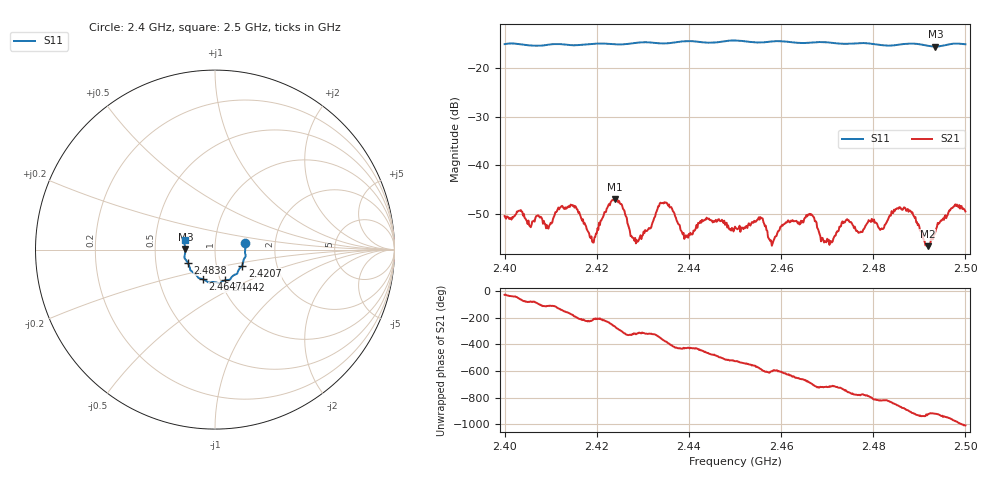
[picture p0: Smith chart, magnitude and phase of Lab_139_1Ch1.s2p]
# Hz S RI R 50
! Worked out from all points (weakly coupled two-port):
!   601 points, 2.4 GHz to 2.5 GHz, reference 50 ohm
!   highest |S21| = -46.86 dB at 2.424 GHz (marker M1); lowest = -56.5 dB at 2.4918 GHz (marker M2)
!   lowest |S11| = -15.7 dB at 2.4935 GHz (marker M3), VSWR 1.39, Z = 35.9 + j0.149 ohm
!   |S11| at or under -10 dB: start of sweep to end of sweep
!   S12 and S22 are empty: the file has one direction only
!   S11 on the Smith chart (normalised r, x): 2.4 GHz: 1.40, +0.11; 2.4207 GHz: 1.33, -0.24; 2.4442 GHz: 1.05, -0.37; 2.4647 GHz: 0.83, -0.28; 2.4838 GHz: 0.73, -0.11; 2.5 GHz: 0.71, +0.08
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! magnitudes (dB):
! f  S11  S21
! 2.4 GHz  -15.2  -50.4
! 2.4167 GHz  -15.3  -50.9
! 2.419 GHz  -15.1  -55.6
! 2.4207 GHz  -15.1  -52.2
! 2.424 GHz  -15.2  -46.9
! 2.4287 GHz  -14.9  -55.3
! 2.4333 GHz  -15.0  -48.3
! 2.4393 GHz  -14.6  -54.3
! 2.4442 GHz  -14.9  -50.9
! 2.45 GHz  -14.4  -52.5
! 2.4555 GHz  -14.8  -50.6
! 2.458 GHz  -14.6  -56.4
! 2.4647 GHz  -15.0  -51.4
! 2.4667 GHz  -14.9  -50.1
! 2.4707 GHz  -14.9  -55.5
! 2.4738 GHz  -15.1  -51.7
! 2.4833 GHz  -15.5  -50.8
! 2.4838 GHz  -15.5  -50.3
! 2.488 GHz  -15.1  -49.3
! 2.4918 GHz  -15.5  -56.5
! 2.4935 GHz  -15.7  -53.5
! 2.5 GHz  -15.2  -49.4
